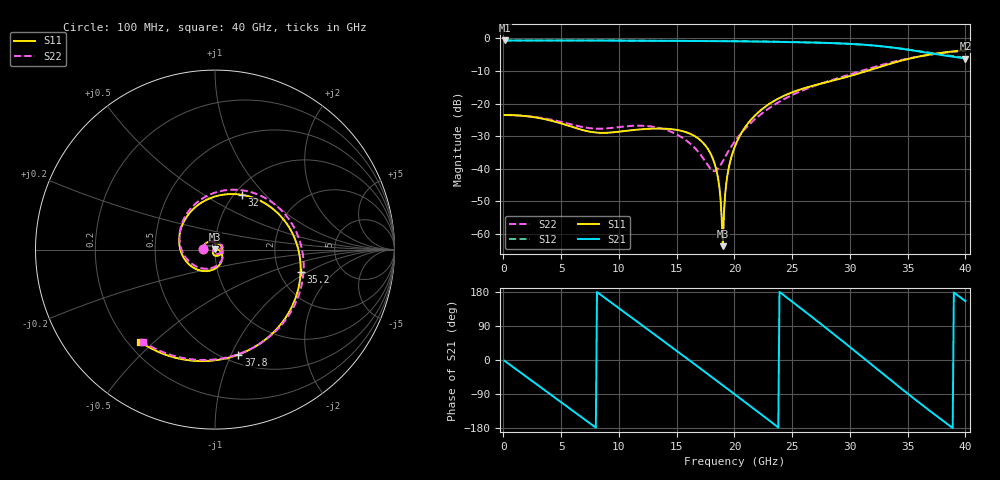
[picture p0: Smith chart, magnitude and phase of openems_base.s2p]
! A_s4_d300_ap800: L1→L4 through L2/L3, drill Ø0.3, antipad Ø0.8, 4 GND vias at 1 mm
! stackup: 4-layer 1.6 mm FR-4
! ports: 1, 2
! openEMS 0.37.0, staircase, base mesh (dfine 0.035 mm), 519453 cells
# Hz S RI R 50
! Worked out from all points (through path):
!   400 points, 100 MHz to 40 GHz, reference 50 ohm
!   highest |S21| = -0.60 dB at 100 MHz (marker M1); lowest = -6.1 dB at 40 GHz (marker M2)
!   group delay of S21, straight-line fit = 64.4 ps
!   lowest |S11| = -63.7 dB at 19 GHz (marker M3), VSWR 1.00, Z = 50 + j0.0649 ohm
!   |S11| at or under -10 dB: start of sweep to 31.44 GHz
!   |S22| runs from -40.7 to -3.7 dB; largest |S21 - S12| = 0.013
!   S11 on the Smith chart (normalised r, x): 100 MHz: 0.87, +0.00; 32 GHz: 1.08, +0.75; 35.2 GHz: 2.62, -0.86; 37.8 GHz: 0.58, -1.07; 40 GHz: 0.25, -0.45
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1e8  -0.067 0.0015  0.932 -0.0363  0.932 -0.0363  -0.0668 0.00156
3.6e9  -0.0398 0.0418  0.1579 -0.9185  0.1578 -0.9185  -0.0397 0.044
6.8e9  -0.00727 0.039  -0.819 -0.4414  -0.8191 -0.4413  -0.00713 0.0434
8.7e9  0.00228 0.0356  -0.9004 0.2277  -0.9006 0.2278  0.00252 0.0414
1.07e10  0.0203 0.0326  -0.4764 0.7945  -0.4767 0.7947  0.0207 0.04
1.34e10  0.0412 -0.00504  0.4581 0.7999  0.4583 0.8008  0.0425 0.00448
1.57e10  0.0113 -0.0353  0.9079 0.1316  0.9094 0.1318  0.0136 -0.0249
1.79e10  -0.0122 -0.0126  0.6811 -0.6082  0.6822 -0.6095  -0.0101 -0.00125
1.87e10  -0.00488 -0.00176  0.4549 -0.7896  0.4556 -0.7911  -0.00285 0.0103
1.9e10  5.85e-05 0.000649  0.3568 -0.8376  0.3573 -0.8392  0.00209 0.013
1.91e10  0.00191 0.00116  0.3229 -0.851  0.3234 -0.8526  0.00395 0.0137
1.93e10  0.00586 0.0017  0.2536 -0.8736  0.254 -0.8752  0.00794 0.0144
2.01e10  0.0231 -0.00356  -0.0349 -0.9063  -0.0349 -0.9082  0.0255 0.0101
2.35e10  -0.0105 -0.1115  -0.8784 -0.1398  -0.8824 -0.14  -0.0042 -0.0971
2.67e10  -0.1847 -0.0252  -0.3509 0.7922  -0.3494 0.7967  -0.1809 -0.0139
2.89e10  -0.1711 0.1609  0.4076 0.7389  0.4108 0.7381  -0.1724 0.1737
3.05e10  -0.0472 0.2774  0.7583 0.3067  0.758 0.3051  -0.0531 0.2948
3.2e10  0.1489 0.3054  0.7551 -0.2031  0.7544 -0.2011  0.1402 0.3318
3.34e10  0.3514 0.2015  0.4764 -0.5616  0.4806 -0.5588  0.3466 0.2407
3.52e10  0.4769 -0.124  -0.0412 -0.664  -0.0346 -0.6701  0.4938 -0.0751
3.78e10  0.1302 -0.5852  -0.5073 -0.2422  -0.5177 -0.2488  0.1715 -0.5664
4e10  -0.4196 -0.5121  -0.448 0.2055  -0.4551 0.2156  -0.3993 -0.5153
